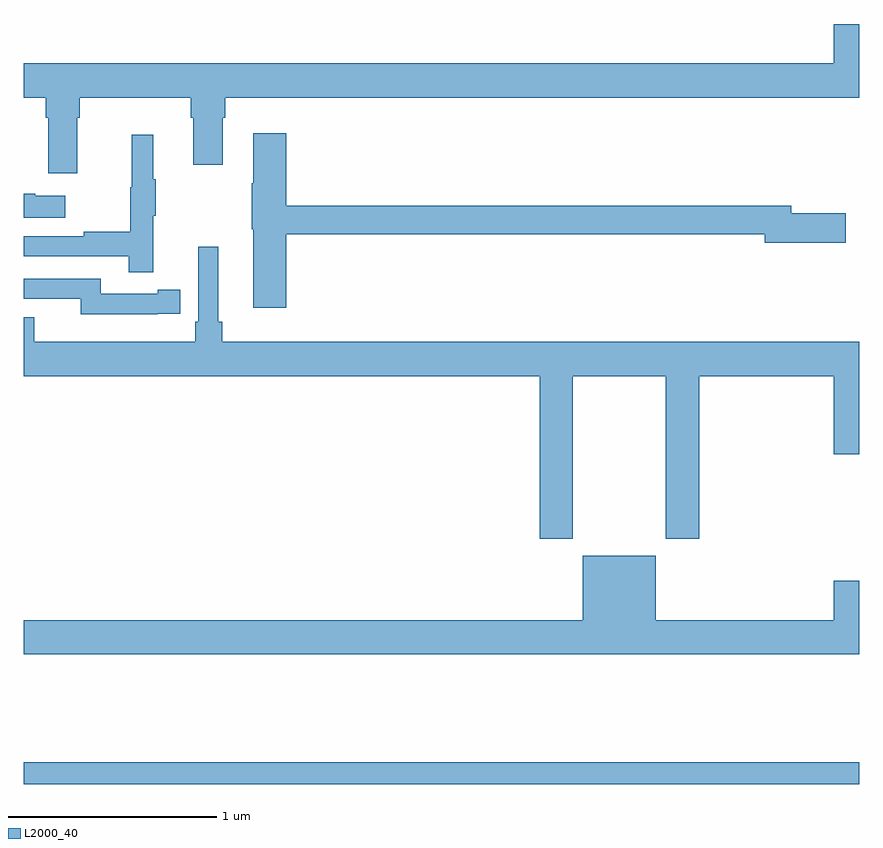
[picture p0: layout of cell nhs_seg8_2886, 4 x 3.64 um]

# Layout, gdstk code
import gdstk
lib = gdstk.Library(unit=1e-6, precision=1e-09)
def R(c, l, rs):  # rectangles x0, y0, x1, y1
    for r in rs: c.add(gdstk.rectangle(r[:2], r[2:], *l))
def P(c, l, *ps):  # polygons
    for p in ps: c.add(gdstk.Polygon(p, *l))
L2000_40 = (2000, 40)

nhs_seg8_2886 = lib.new_cell('nhs_seg8_2886')
R(nhs_seg8_2886, L2000_40, [(293,1095.9,297,1096.004)])
P(nhs_seg8_2886, L2000_40, [(293.257,1099.088),(293.27,1099.088),(293.27,1099.184),(293.801,1099.184),(293.801,1099.088),(293.813,1099.088),(293.813,1098.864),(293.953,1098.864),(293.953,1099.088),(293.966,1099.088),(293.966,1099.184),(297,1099.184),(297,1099.537),(296.876,1099.537),(296.876,1099.348),(293,1099.348),(293,1099.184),(293.105,1099.184),(293.105,1099.088),(293.117,1099.088),(293.117,1098.822),(293.257,1098.822)],
  [(294.257,1098.532),(296.546,1098.532),(296.546,1098.49),(296.935,1098.49),(296.935,1098.632),(296.674,1098.632),(296.674,1098.668),(294.257,1098.668),(294.257,1099.015),(294.098,1099.015),(294.098,1098.776),(294.091,1098.776),(294.091,1098.555),(294.098,1098.555),(294.098,1098.18),(294.257,1098.18)],
  [(293.621,1098.619),(293.632,1098.619),(293.632,1098.793),(293.621,1098.793),(293.621,1099.006),(293.518,1099.006),(293.518,1098.756),(293.511,1098.756),(293.511,1098.542),(293.287,1098.542),(293.287,1098.522),(293,1098.522),(293,1098.426),(293.503,1098.426),(293.503,1098.348),(293.621,1098.348)],
  [(293.2,1098.715),(293.057,1098.715),(293.057,1098.725),(293,1098.725),(293,1098.611),(293.2,1098.611)],
  [(295.629,1097.852),(296.074,1097.852),(296.074,1097.073),(296.234,1097.073),(296.234,1097.852),(296.876,1097.852),(296.876,1097.478),(297,1097.478),(297,1098.016),(293.951,1098.016),(293.951,1098.112),(293.932,1098.112),(293.932,1098.472),(293.835,1098.472),(293.835,1098.112),(293.822,1098.112),(293.822,1098.016),(293.05,1098.016),(293.05,1098.133),(293,1098.133),(293,1097.852),(295.469,1097.852),(295.469,1097.073),(295.629,1097.073)],
  [(293.642,1098.15),(293.75,1098.15),(293.75,1098.266),(293.642,1098.266),(293.642,1098.246),(293.37,1098.246),(293.37,1098.318),(293,1098.318),(293,1098.222),(293.274,1098.222),(293.274,1098.149),(293.642,1098.149)],
  [(297,1096.873),(296.876,1096.873),(296.876,1096.684),(296.026,1096.684),(296.026,1096.993),(295.676,1096.993),(295.676,1096.684),(293,1096.684),(293,1096.52),(297,1096.52)])

lib.write_gds('nhs_seg8_2886.gds')
